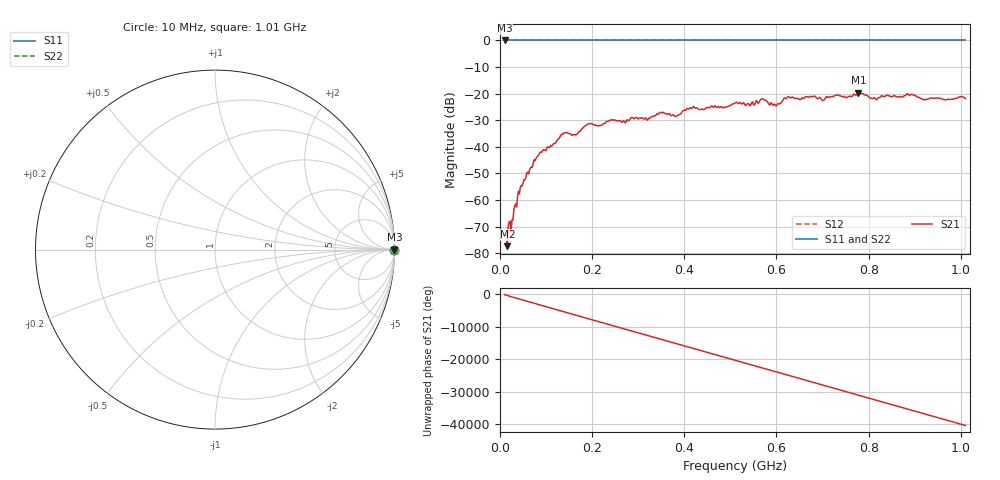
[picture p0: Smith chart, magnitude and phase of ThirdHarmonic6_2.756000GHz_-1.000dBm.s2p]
! 8/17/2025 6:55:40 AM
! C:\ANRITSUVNA\TEMP\TEMP.S2P
! CHANNEL.1
! TR.MEASUREMENT
! RAW.DATA
! RF.CORRECTION.OFF
! AVERAGING.OFF
! IF.BANDWIDTH: 5KHZ
! SWEEPTYPE:  FREQ.SWEEP(Linear)
! Reference Plane Port Info
! PORT:  PORT1  PORT2
! DISTANCE:  0  m  0  m
! TIME:  0  s  0  s
! PHASE.OFFSET:  0  deg.  0  deg.
! LOSS:  0  dB  0  dB
! REF.LOSS:  0  dB  0  dB
! REF.FREQ:  0  Hz  0  Hz
! Power Info
! POWER:  -20  dBm  -20  dBm
! EFF.POWER:  -20  dBm  -20  dBm
! SOURCE.ATTEN:  0  dB  0  dB
! TEST.ATTEN:  0  dB  0  dB
# GHZ S RI R 50.0
! FREQ.GHZ  S11RE  S11IM  S21RE  S21IM  S12RE  S12IM  S22RE  S22IM
!; PortSelection: Port_12
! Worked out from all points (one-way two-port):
!   501 points, 10 MHz to 1.01 GHz, reference 50 ohm
!   highest |S21| = -19.67 dB at 778 MHz (marker M1); lowest = -77.3 dB at 16 MHz (marker M2)
!   lowest |S11| = 0.0 dB at 10 MHz (marker M3)
!   |S11| at or under -10 dB: nowhere
!   |S22| runs from 0.0 to 0.0 dB; largest |S21 - S12| = 1.1
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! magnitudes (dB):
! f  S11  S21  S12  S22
! 10 MHz  0.0  -73.0  0.0  0.0
! 16 MHz  0.0  -77.3  0.0  0.0
! 28 MHz  0.0  -67.5  0.0  0.0
! 42 MHz  0.0  -57.7  0.0  0.0
! 78 MHz  0.0  -44.4  0.0  0.0
! 136 MHz  0.0  -35.4  0.0  0.0
! 164 MHz  0.0  -35.5  0.0  0.0
! 178 MHz  0.0  -33.2  0.0  0.0
! 194 MHz  0.0  -31.3  0.0  0.0
! 344 MHz  0.0  -27.7  0.0  0.0
! 382 MHz  0.0  -28.5  0.0  0.0
! 416 MHz  0.0  -25.6  0.0  0.0
! 510 MHz  0.0  -23.5  0.0  0.0
! 570 MHz  0.0  -21.9  0.0  0.0
! 596 MHz  0.0  -24.0  0.0  0.0
! 622 MHz  0.0  -21.7  0.0  0.0
! 678 MHz  0.0  -21.2  0.0  0.0
! 702 MHz  0.0  -22.5  0.0  0.0
! 778 MHz  0.0  -19.7  0.0  0.0
! 814 MHz  0.0  -21.7  0.0  0.0
! 844 MHz  0.0  -20.8  0.0  0.0
! 1.01 GHz  0.0  -21.9  0.0  0.0
